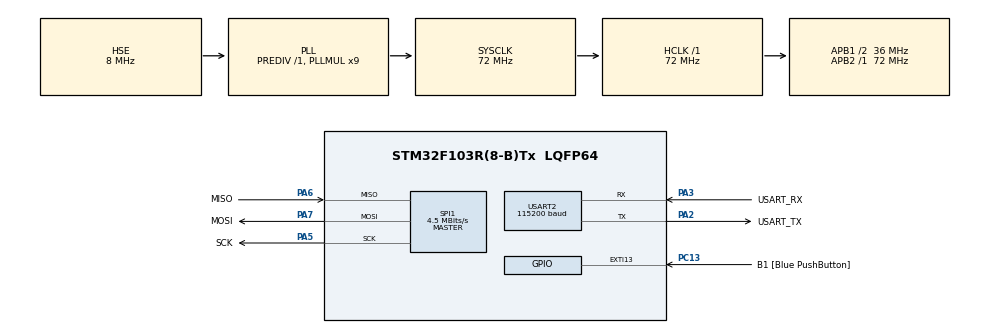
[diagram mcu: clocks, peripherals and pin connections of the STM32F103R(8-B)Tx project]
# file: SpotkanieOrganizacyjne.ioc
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Dma.Request0=SPI1_RX
Dma.Request1=SPI1_TX
Dma.SPI1_RX.0.Direction=DMA_PERIPH_TO_MEMORY
Dma.SPI1_RX.0.Instance=DMA1_Channel2
Dma.SPI1_RX.0.MemDataAlignment=DMA_MDATAALIGN_BYTE
Dma.SPI1_RX.0.MemInc=DMA_MINC_ENABLE
Dma.SPI1_RX.0.Mode=DMA_NORMAL
Dma.SPI1_RX.0.PeriphDataAlignment=DMA_PDATAALIGN_BYTE
Dma.SPI1_RX.0.PeriphInc=DMA_PINC_DISABLE
Dma.SPI1_RX.0.Priority=DMA_PRIORITY_LOW
Dma.SPI1_TX.1.Direction=DMA_MEMORY_TO_PERIPH
Dma.SPI1_TX.1.Instance=DMA1_Channel3
Dma.SPI1_TX.1.MemDataAlignment=DMA_MDATAALIGN_BYTE
Dma.SPI1_TX.1.MemInc=DMA_MINC_ENABLE
Dma.SPI1_TX.1.Mode=DMA_NORMAL
Dma.SPI1_TX.1.PeriphDataAlignment=DMA_PDATAALIGN_BYTE
Dma.SPI1_TX.1.PeriphInc=DMA_PINC_DISABLE
Dma.SPI1_TX.1.Priority=DMA_PRIORITY_LOW
Mcu.Family=STM32F1
Mcu.Name=STM32F103R(8-B)Tx
Mcu.Package=LQFP64
NVIC.DMA1_Channel2_IRQn=true\:0\:0\:false\:false\:true\:false\:true\:true
NVIC.DMA1_Channel3_IRQn=true\:0\:0\:false\:false\:true\:false\:true\:true
NVIC.EXTI15_10_IRQn=true\:0\:0\:false\:false\:true\:true\:true\:true
NVIC.PriorityGroup=NVIC_PRIORITYGROUP_4
NVIC.USART2_IRQn=true\:0\:0\:false\:false\:true\:true\:true\:true
PA13.GPIO_Label=TMS
PA13.Mode=Serial_Wire
PA13.Signal=SYS_JTMS-SWDIO
PA14.GPIO_Label=TCK
PA14.Mode=Serial_Wire
PA14.Signal=SYS_JTCK-SWCLK
PA2.GPIO_Label=USART_TX
PA2.GPIO_Mode=GPIO_MODE_AF_PP
PA2.GPIO_PuPd=GPIO_NOPULL
PA2.GPIO_Speed=GPIO_SPEED_FREQ_LOW
PA2.Mode=Asynchronous
PA2.Signal=USART2_TX
PA3.GPIO_Label=USART_RX
PA3.GPIO_Mode=GPIO_MODE_AF_PP
PA3.GPIO_PuPd=GPIO_NOPULL
PA3.GPIO_Speed=GPIO_SPEED_FREQ_LOW
PA3.Mode=Asynchronous
PA3.Signal=USART2_RX
PA5.GPIO_Label=SCK
PA5.Mode=Full_Duplex_Master
PA5.Signal=SPI1_SCK
PA6.GPIO_Label=MISO
PA6.Mode=Full_Duplex_Master
PA6.Signal=SPI1_MISO
PA7.GPIO_Label=MOSI
PA7.Mode=Full_Duplex_Master
PA7.Signal=SPI1_MOSI
PB3.GPIO_Label=SWO
PB3.Signal=SYS_JTDO-TRACESWO
PC13-TAMPER-RTC.GPIO_Label=B1 [Blue PushButton]
PC13-TAMPER-RTC.GPIO_PuPd=GPIO_NOPULL
PC13-TAMPER-RTC.Signal=GPXTI13
PC14-OSC32_IN.Mode=LSE-External-Oscillator
PC14-OSC32_IN.Signal=RCC_OSC32_IN
PC15-OSC32_OUT.Mode=LSE-External-Oscillator
PC15-OSC32_OUT.Signal=RCC_OSC32_OUT
PD0-OSC_IN.Mode=HSE-External-Clock-Source
PD0-OSC_IN.Signal=RCC_OSC_IN
PD1-OSC_OUT.Mode=HSE-External-Clock-Source
PD1-OSC_OUT.Signal=RCC_OSC_OUT
ProjectManager.HeapSize=0x200
ProjectManager.StackSize=0x400
ProjectManager.TargetToolchain=STM32CubeIDE
RCC.AHBFreq_Value=72000000
RCC.APB1CLKDivider=RCC_HCLK_DIV2
RCC.APB1Freq_Value=36000000
RCC.APB1TimFreq_Value=72000000
RCC.APB2Freq_Value=72000000
RCC.APB2TimFreq_Value=72000000
RCC.HCLKFreq_Value=72000000
RCC.PLLMUL=RCC_PLL_MUL9
RCC.PLLSourceVirtual=RCC_PLLSOURCE_HSE
RCC.RTCClockSelection=RCC_RTCCLKSOURCE_LSE
RCC.SYSCLKFreq_VALUE=72000000
RCC.SYSCLKSource=RCC_SYSCLKSOURCE_PLLCLK
RCC.USBFreq_Value=72000000
SPI1.BaudRatePrescaler=SPI_BAUDRATEPRESCALER_16
SPI1.CLKPhase=SPI_PHASE_1EDGE
SPI1.CalculateBaudRate=4.5 MBits/s
SPI1.Direction=SPI_DIRECTION_2LINES
SPI1.Mode=SPI_MODE_MASTER
SPI1.VirtualType=VM_MASTER
USART2.BaudRate=115200
USART2.VirtualMode=VM_ASYNC
board=NUCLEO-F103RB

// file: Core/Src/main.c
/* USER CODE BEGIN Header */
/**
  ******************************************************************************
  * @file           : main.c
  * @brief          : Main program body
  ******************************************************************************
  * @attention
  *
  * Copyright (c) 2025 STMicroelectronics.
  * All rights reserved.
  *
  * This software is licensed under terms that can be found in the LICENSE file
  * in the root directory of this software component.
  * If no LICENSE file comes with this software, it is provided AS-IS.
  *
  ******************************************************************************
  */
/* USER CODE END Header */
#include "main.h"

/* USER CODE BEGIN Includes */
#include <stdint.h>
#include <inttypes.h>
#include <stdio.h>
#include <math.h>
/* USER CODE END Includes */

SPI_HandleTypeDef hspi1;
DMA_HandleTypeDef hdma_spi1_rx;
DMA_HandleTypeDef hdma_spi1_tx;

UART_HandleTypeDef huart2;

void SystemClock_Config(void);
static void MX_GPIO_Init(void);
static void MX_DMA_Init(void);
static void MX_USART2_UART_Init(void);
static void MX_SPI1_Init(void);

/* USER CODE BEGIN 0 */
int32_t TARE=0;
double SCALE=0;
const int AVGSIZE=4;	//przesuniecie bitowe o 2^AVGSIZE
const double KNOWN_WEIGHT=18770; //dla 50g
volatile uint8_t tare_updating = 0;
uint8_t uart_val=0;

int __io_putchar(int ch){
	HAL_UART_Transmit(&huart2, (uint8_t*)&ch, 1, HAL_MAX_DELAY);
	return 1;
}

const uint8_t clock[8] =
{ 0b00000000, 0b01010101, 0b01010101, 0b01010101, 0b01010101,
  0b01010101, 0b01010101, 0b01000000 };  // 25 taktów; clock[0]-bezpieczne opoznienie
//clock[1..6] - odbieranie danych (rising edge), clock[7]-gain na 128

volatile uint8_t buf[8]={0};	//bufor do wczytywania danych
volatile int hx_transfer_done=1;

void HAL_SPI_TxRxCpltCallback(SPI_HandleTypeDef *hspi) {
    if (hspi == &hspi1)
        hx_transfer_done = 1;
}

void HAL_UART_RxCpltCallback(UART_HandleTypeDef *huart){
	if(huart==&huart2){
		if(uart_val=='t'){
			tare_updating=1;
		}
		HAL_UART_Receive_IT(&huart2, &uart_val, 1);
	}
}

union{
	uint32_t uint32_v;
	int32_t int32_v;
} converter;

int32_t reading(uint8_t data[]){
	uint32_t raw_reading = 0;
	for(int i=6, j=3; i>=1; i--, j+=4){
		uint8_t read_data_help=0b0000001;	//
		int mov = j; //zmienna pomocnicza mov odpowiadajaca za przesuniecia bitowe
		while(read_data_help!=0){	//do momentu uciecia przesuwanego bita
			raw_reading|=(data[i] & read_data_help)<<mov;
			//dolaczanie do odczytu kolejnych odebranych bitow (w kolejnosci od najmniej do najardziej znaczacego)
			//read_data_help sluzy do wyizolowania co drugiego bita z odczytu data
			//i ustalenia czy wynosi 0 czy 1 (data[i] & read_data_help)
			//mov odpowiada za sklejenie odpowiednich bitow
			mov--;
			read_data_help<<=2;	//przejscie do kolejnego bita od prawej do lewej

		}
	}
	raw_reading>>=4;	//dopasowanie do prawej, dla przejrzystosci kodu
	raw_reading<<=8;	//dopelnienie do lewej aby uwzglednic ewentualny bit znaku
	converter.uint32_v = raw_reading;	//jesli 32 bit bedzie 1 to converter.int32_t bedzie ujemny
	int32_t signed_read = converter.int32_v>>=8;	//z powrotem dosuniecie do prawej, zachowujac znak
	return signed_read;
}

int32_t ReadHX711(void){
	while(HAL_GPIO_ReadPin(MISO_GPIO_Port, MISO_Pin)==GPIO_PIN_SET)
		;
	hx_transfer_done = 0;
    HAL_SPI_TransmitReceive_DMA(&hspi1, (uint8_t*)clock, (uint8_t*)buf, sizeof(buf));
    while(!hx_transfer_done)
        ;
    int32_t val = reading((uint8_t*)buf);
    return val;
}

int32_t avg_read(void){
	int32_t avg=0;
	for(int i=0;i<(1<<AVGSIZE);i++)
		avg+=ReadHX711();
	avg>>=AVGSIZE;
	return avg;
}

void calibrate_weight(){
	SCALE = KNOWN_WEIGHT/50.0; //ile na 1 gr
}

double ready_read(double read){
	read-=TARE;
	read/=SCALE;
	read=round(read*10.0)/10.0;
	if(read==0)
		read=0;
	return read;
}

/* USER CODE END 0 */

int main(void)
{

  /* MCU Configuration--------------------------------------------------------*/

  /* Reset of all peripherals, Initializes the Flash interface and the Systick. */
  HAL_Init();

  /* Configure the system clock */
  SystemClock_Config();

  /* Initialize all configured peripherals */
  MX_GPIO_Init();
  MX_DMA_Init();
  MX_USART2_UART_Init();
  MX_SPI1_Init();
  /* USER CODE BEGIN 2 */
  calibrate_weight();
  TARE=avg_read();
  HAL_UART_Receive_IT(&huart2, &uart_val, 1);
  /* USER CODE END 2 */

  /* Infinite loop */
  /* USER CODE BEGIN WHILE */
  while (1)
  {
	  double read=(double)avg_read();
	  if(tare_updating==1){
		  TARE=(int32_t)read;
		  tare_updating=0;
	  }
	  read = ready_read(read);
	  printf("\x1b[2K");
	  printf("Waga: %.1lf[g]\r",read);	//waga w g
	  fflush(stdout);
    /* USER CODE END WHILE */

  }
}

void SystemClock_Config(void)
{
  RCC_OscInitTypeDef RCC_OscInitStruct = {0};
  RCC_ClkInitTypeDef RCC_ClkInitStruct = {0};

  /** Initializes the RCC Oscillators according to the specified parameters
  * in the RCC_OscInitTypeDef structure.
  */
  RCC_OscInitStruct.OscillatorType = RCC_OSCILLATORTYPE_HSE;
  RCC_OscInitStruct.HSEState = RCC_HSE_BYPASS;
  RCC_OscInitStruct.HSEPredivValue = RCC_HSE_PREDIV_DIV1;
  RCC_OscInitStruct.HSIState = RCC_HSI_ON;
  RCC_OscInitStruct.PLL.PLLState = RCC_PLL_ON;
  RCC_OscInitStruct.PLL.PLLSource = RCC_PLLSOURCE_HSE;
  RCC_OscInitStruct.PLL.PLLMUL = RCC_PLL_MUL9;
  if (HAL_RCC_OscConfig(&RCC_OscInitStruct) != HAL_OK)
  {
    Error_Handler();
  }

  /** Initializes the CPU, AHB and APB buses clocks
  */
  RCC_ClkInitStruct.ClockType = RCC_CLOCKTYPE_HCLK|RCC_CLOCKTYPE_SYSCLK
                              |RCC_CLOCKTYPE_PCLK1|RCC_CLOCKTYPE_PCLK2;
  RCC_ClkInitStruct.SYSCLKSource = RCC_SYSCLKSOURCE_PLLCLK;
  RCC_ClkInitStruct.AHBCLKDivider = RCC_SYSCLK_DIV1;
  RCC_ClkInitStruct.APB1CLKDivider = RCC_HCLK_DIV2;
  RCC_ClkInitStruct.APB2CLKDivider = RCC_HCLK_DIV1;

  if (HAL_RCC_ClockConfig(&RCC_ClkInitStruct, FLASH_LATENCY_2) != HAL_OK)
  {
    Error_Handler();
  }
}

static void MX_SPI1_Init(void)
{

  /* SPI1 parameter configuration*/
  hspi1.Instance = SPI1;
  hspi1.Init.Mode = SPI_MODE_MASTER;
  hspi1.Init.Direction = SPI_DIRECTION_2LINES;
  hspi1.Init.DataSize = SPI_DATASIZE_8BIT;
  hspi1.Init.CLKPolarity = SPI_POLARITY_LOW;
  hspi1.Init.CLKPhase = SPI_PHASE_1EDGE;
  hspi1.Init.NSS = SPI_NSS_SOFT;
  hspi1.Init.BaudRatePrescaler = SPI_BAUDRATEPRESCALER_16;
  hspi1.Init.FirstBit = SPI_FIRSTBIT_MSB;
  hspi1.Init.TIMode = SPI_TIMODE_DISABLE;
  hspi1.Init.CRCCalculation = SPI_CRCCALCULATION_DISABLE;
  hspi1.Init.CRCPolynomial = 10;
  if (HAL_SPI_Init(&hspi1) != HAL_OK)
  {
    Error_Handler();
  }

}

static void MX_USART2_UART_Init(void)
{

  huart2.Instance = USART2;
  huart2.Init.BaudRate = 115200;
  huart2.Init.WordLength = UART_WORDLENGTH_8B;
  huart2.Init.StopBits = UART_STOPBITS_1;
  huart2.Init.Parity = UART_PARITY_NONE;
  huart2.Init.Mode = UART_MODE_TX_RX;
  huart2.Init.HwFlowCtl = UART_HWCONTROL_NONE;
  huart2.Init.OverSampling = UART_OVERSAMPLING_16;
  if (HAL_UART_Init(&huart2) != HAL_OK)
  {
    Error_Handler();
  }

}

static void MX_DMA_Init(void)
{

  /* DMA controller clock enable */
  __HAL_RCC_DMA1_CLK_ENABLE();

  /* DMA interrupt init */
  /* DMA1_Channel2_IRQn interrupt configuration */
  HAL_NVIC_SetPriority(DMA1_Channel2_IRQn, 0, 0);
  HAL_NVIC_EnableIRQ(DMA1_Channel2_IRQn);
  /* DMA1_Channel3_IRQn interrupt configuration */
  HAL_NVIC_SetPriority(DMA1_Channel3_IRQn, 0, 0);
  HAL_NVIC_EnableIRQ(DMA1_Channel3_IRQn);

}

static void MX_GPIO_Init(void)
{
  GPIO_InitTypeDef GPIO_InitStruct = {0};

  /* GPIO Ports Clock Enable */
  __HAL_RCC_GPIOC_CLK_ENABLE();
  __HAL_RCC_GPIOD_CLK_ENABLE();
  __HAL_RCC_GPIOA_CLK_ENABLE();
  __HAL_RCC_GPIOB_CLK_ENABLE();

  /*Configure GPIO pin : B1_Pin */
  GPIO_InitStruct.Pin = B1_Pin;
  GPIO_InitStruct.Mode = GPIO_MODE_IT_RISING;
  GPIO_InitStruct.Pull = GPIO_NOPULL;
  HAL_GPIO_Init(B1_GPIO_Port, &GPIO_InitStruct);

  /* EXTI interrupt init*/
  HAL_NVIC_SetPriority(EXTI15_10_IRQn, 0, 0);
  HAL_NVIC_EnableIRQ(EXTI15_10_IRQn);

}

void Error_Handler(void)
{
  __disable_irq();
  while (1)
  {
  }
}
